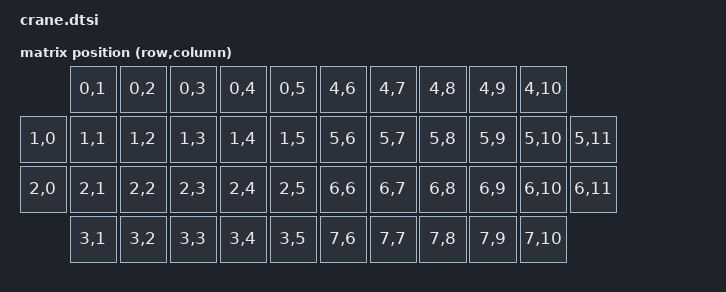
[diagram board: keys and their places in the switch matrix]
#include <dt-bindings/zmk/matrix_transform.h> 

/ {
    chosen {
        zmk,kscan = &kscan0;
        zmk,physical-layout = &physical_layout0;
    };

    default_transform: keymap_transform0 {
        compatible = "zmk,matrix-transform";
        columns = <12>;
        rows = <8>;
//       | SW5  | SW8  | SW11 | SW14 | SW17 |       | SW17 | SW14 | SW11 | SW8  | SW5  |
// | SW2 | SW4  | SW7  | SW10 | SW13 | SW16 |       | SW16 | SW13 | SW10 | SW7  | SW4  | SW2 |
// | SW1 | SW3  | SW6  | SW9  | SW12 | SW15 |       | SW15 | SW12 | SW9  | SW6  | SW3  | SW1 |
//       | SW19 | SW20 | SW21 | SW22 | SW18 |       | SW18 | SW22 | SW21 | SW20 | SW19 |
        map = <
        RC(0,1) RC(0,2) RC(0,3) RC(0,4) RC(0,5)        RC(4,6) RC(4,7) RC(4,8) RC(4,9) RC(4,10)
RC(1,0) RC(1,1) RC(1,2) RC(1,3) RC(1,4) RC(1,5)        RC(5,6) RC(5,7) RC(5,8) RC(5,9) RC(5,10) RC(5,11)
RC(2,0) RC(2,1) RC(2,2) RC(2,3) RC(2,4) RC(2,5)        RC(6,6) RC(6,7) RC(6,8) RC(6,9) RC(6,10) RC(6,11)
        RC(3,1) RC(3,2) RC(3,3) RC(3,4) RC(3,5)        RC(7,6) RC(7,7) RC(7,8) RC(7,9) RC(7,10)
        >;
    };

    kscan0: kscan_0 {
        compatible = "zmk,kscan-gpio-matrix";
        diode-direction = "col2row";
        wakeup-source;
    };

    physical_layout0: physical_layout_0 {
        compatible = "zmk,physical-layout";
        display-name = "Default Layout";
        kscan = <&kscan0>;
        transform = <&default_transform>;
    };
};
